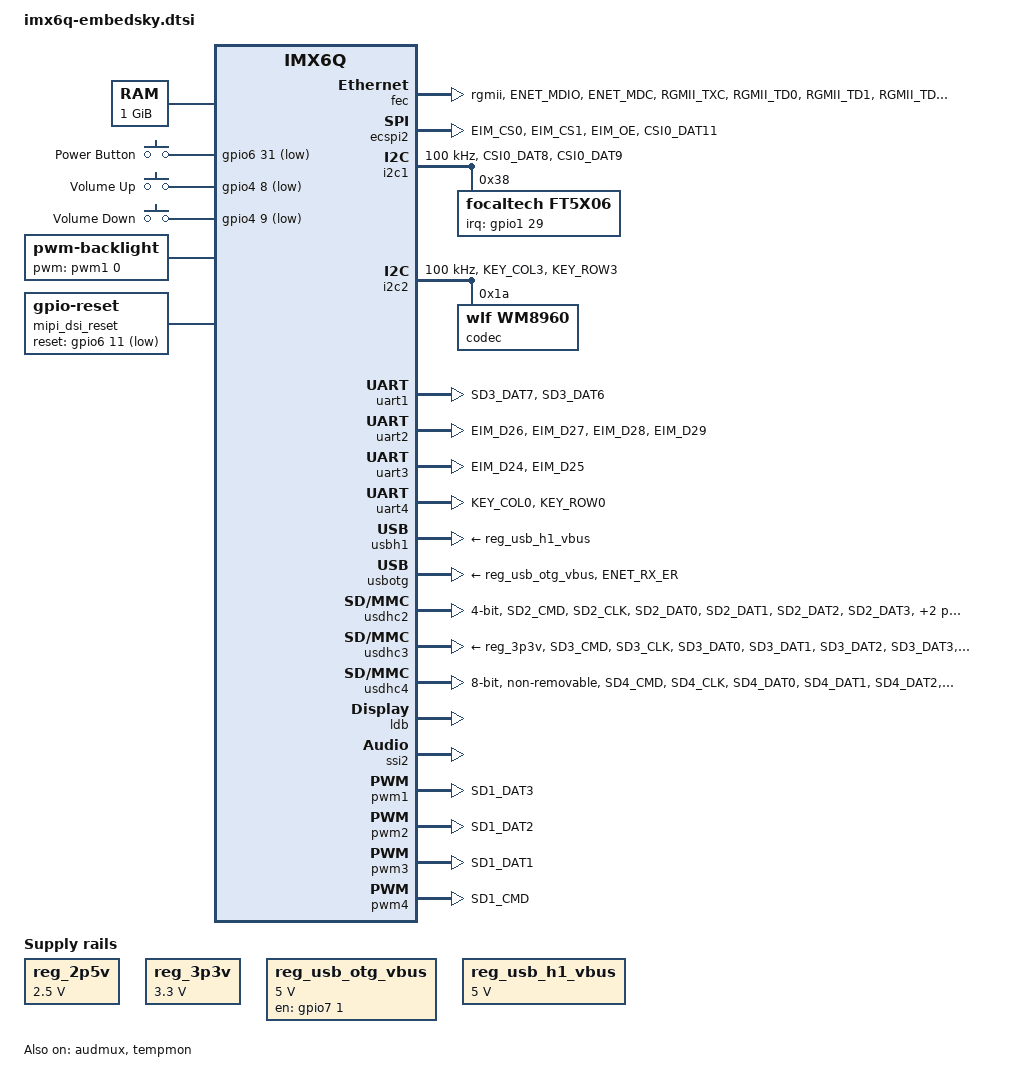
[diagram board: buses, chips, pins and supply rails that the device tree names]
/*
 * Copyright 2012 Freescale Semiconductor, Inc.
 * Copyright 2011 Linaro Ltd.
 *
 * The code contained herein is licensed under the GNU General Public
 * License. You may obtain a copy of the GNU General Public License
 * Version 2 or later at the following locations:
 *
 * http://www.opensource.org/licenses/gpl-license.html
 * http://www.gnu.org/copyleft/gpl.html
 */

#include <dt-bindings/gpio/gpio.h>
#include <dt-bindings/input/input.h>

/*
    0x000b1 - 0000 0000 0000 1011 0001 => PAD_CTL_SPEED_MED | PAD_CTL_DSE_40ohm | PAD_CTL_SRE_FAST
*/
/ {
	aliases {
		mxcfb0 = &mxcfb1;
		mxcfb1 = &mxcfb2;
		mxcfb2 = &mxcfb3;
		mxcfb3 = &mxcfb4;
	};

/*
	hannstar_cabc {
		compatible = "hannstar,cabc";

		lvds0 {
			gpios = <&gpio6 15 GPIO_ACTIVE_HIGH>;
		};

		lvds1 {
			gpios = <&gpio6 16 GPIO_ACTIVE_HIGH>;
		};
	};

	leds {
		compatible = "gpio-leds";

		charger-led {
			gpios = <&gpio1 2 0>;
			linux,default-trigger = "max8903-charger-charging";
			retain-state-suspended;
		};
	};
*/
	memory: memory {
		reg = <0x10000000 0x40000000>;
	};

	regulators {
		compatible = "simple-bus";
		#address-cells = <1>;
		#size-cells = <0>;

		reg_2p5v: regulator@0 {
		    compatible = "regulator-fixed";
                    reg = <0>;
                    regulator-name = "2P5V";
                    regulator-min-microvolt = <2500000>;
                    regulator-max-microvolt = <2500000>;
                    regulator-always-on;
		};

                reg_3p3v: regulator@1 {
        	compatible = "regulator-fixed";
        	reg = <1>;
			regulator-name = "3P3V";
			regulator-min-microvolt = <3300000>;
			regulator-max-microvolt = <3300000>;
			regulator-always-on;
		};

		reg_usb_otg_vbus: regulator@2 {
			compatible = "regulator-fixed";
			reg = <2>;
			regulator-name = "usb_otg_vbus";
			regulator-min-microvolt = <5000000>;
			regulator-max-microvolt = <5000000>;
                        gpio = <&gpio7 1 GPIO_ACTIVE_HIGH>;
                        enable-active-high;
		};

		reg_usb_h1_vbus: regulator@3 {
			compatible = "regulator-fixed";
			reg = <3>;
			regulator-name = "usb_h1_vbus";
			regulator-min-microvolt = <5000000>;
			regulator-max-microvolt = <5000000>;
                        regulator-always-on;
		};
	};

	gpio-keys {
		compatible = "gpio-keys";
		pinctrl-names = "default";
		pinctrl-0 = <&pinctrl_gpio_keys>;

		power {
			label = "Power Button";
			gpios = <&gpio6 31 GPIO_ACTIVE_LOW>;
			gpio-key,wakeup;
			linux,code = <KEY_POWER>;
		};

		volume-up {
			label = "Volume Up";
			gpios = <&gpio4 8 GPIO_ACTIVE_LOW>;
			gpio-key,wakeup;
			linux,code = <KEY_VOLUMEUP>;
		};

		volume-down {
			label = "Volume Down";
			gpios = <&gpio4 9 GPIO_ACTIVE_LOW>;
			gpio-key,wakeup;
			linux,code = <KEY_VOLUMEDOWN>;
		};
	};

        sound {
                compatible = "fsl,fsl,imx-audio-wm8960";
                model = "wm8960-audio";
                cpu-dai = <&ssi2>;
                audio-codec = <&codec>;
                asrc-controller = <&asrc>;
                codec-master;
                hp-det = <3 0>;
                audio-routing =
                    "Headset Jack", "HP_L",
                    "Headset Jack", "HP_R",
                    "Ext Spk", "SPK_LP",
                    "Ext Spk", "SPK_LN",
                    "Ext Spk", "SPK_RP",
                    "Ext Spk", "SPK_RN",
                    "LINPUT2", "Hp MIC",
                    "LINPUT3", "Hp MIC",
                    "RINPUT1", "Main MIC",
                    "RINPUT2", "Main MIC",
                    "Hp MIC", "MICB",
                    "Main MIC", "MICB",
                    "CPU-Playback", "ASRC-Playback",
                    "Playback", "CPU-Playback",
                    "ASRC-Capture", "CPU-Capture",
                    "CPU-Capture", "Capture";
   		status = "okay";
        };

/*
	sound {
		compatible = "fsl,imx-audio-wm8960";
		model = "wm8960-audio";
		ssi-controller = <&ssi2>;
		audio-codec = <&codec>;
		asrc-controller = <&asrc>;
		audio-routing =
			"Headphone Jack", "HPOUTL",
			"Headphone Jack", "HPOUTR",
			"Ext Spk", "SPKOUTL",
			"Ext Spk", "SPKOUTR",
			"MICBIAS", "AMIC",
			"IN3R", "MICBIAS",
			"DMIC", "MICBIAS",
			"DMICDAT", "DMIC",
			"CPU-Playback", "ASRC-Playback",
			"Playback", "CPU-Playback",
			"ASRC-Capture", "CPU-Capture",
			"CPU-Capture", "Capture";
		mux-int-port = <2>;
		mux-ext-port = <3>;
		hp-det-gpios = <&gpio3 31 GPIO_ACTIVE_LOW>;
   		status = "okay";
	};
*/
	sound-hdmi {
		compatible = "fsl,imx6q-audio-hdmi",
			     "fsl,imx-audio-hdmi";
		model = "imx-audio-hdmi";
		hdmi-controller = <&hdmi_audio>;
	};

	mxcfb1: fb@0 {
                compatible = "fsl,mxc_sdc_fb";
                disp_dev = "lcd";
                interface_pix_fmt = "RGB24";
                mode_str ="CLAA-WVGA";
                default_bpp = <16>;
                int_clk = <0>;
                late_init = <0>;
		status = "okay";
	};

	mxcfb2: fb@1 {
		compatible = "fsl,mxc_sdc_fb";
		disp_dev = "hdmi";
		interface_pix_fmt = "RGB24";
		mode_str ="1920x1080M@60";
		default_bpp = <24>;
		int_clk = <0>;
		late_init = <0>;
		status = "disabled";
	};

	mxcfb3: fb@2 {
		compatible = "fsl,mxc_sdc_fb";
		disp_dev = "lcd";
		interface_pix_fmt = "RGB565";
		mode_str ="CLAA-WVGA";
		default_bpp = <16>;
		int_clk = <0>;
		late_init = <0>;
		status = "disabled";
	};

	mxcfb4: fb@3 {
		compatible = "fsl,mxc_sdc_fb";
		disp_dev = "ldb";
		interface_pix_fmt = "RGB666";
		default_bpp = <16>;
		int_clk = <0>;
		late_init = <0>;
		status = "disabled";
	};

	lcd@0 {
		compatible = "fsl,lcd";
		ipu_id = <0>;
		disp_id = <0>;
		default_ifmt = "RGB565";
		pinctrl-names = "default";
		pinctrl-0 = <&pinctrl_ipu1>;
		status = "okay";
	};

	backlight {
		compatible = "pwm-backlight";
		pwms = <&pwm1 0 5000000>;
		brightness-levels = <0 4 8 16 32 64 128 255>;
		default-brightness-level = <7>;
		status = "okay";
	};

	v4l2_cap_0 {
		compatible = "fsl,imx6q-v4l2-capture";
		ipu_id = <0>;
		csi_id = <0>;
		mclk_source = <0>;
		status = "okay";
	};

	v4l2_cap_1 {
		compatible = "fsl,imx6q-v4l2-capture";
		ipu_id = <0>;
		csi_id = <1>;
		mclk_source = <0>;
		status = "okay";
	};

	v4l2_out {
		compatible = "fsl,mxc_v4l2_output";
		status = "okay";
	};

	mipi_dsi_reset: mipi-dsi-reset {
		compatible = "gpio-reset";
		reset-gpios = <&gpio6 11 GPIO_ACTIVE_LOW>;
		reset-delay-us = <50>;
		#reset-cells = <0>;
	};
};

/*
&cpu0 {
	arm-supply = <&sw1a_reg>;
	soc-supply = <&sw1c_reg>;
};
*/

&clks {
	fsl,ldb-di0-parent = <&clks IMX6QDL_CLK_PLL2_PFD0_352M>;
	fsl,ldb-di1-parent = <&clks IMX6QDL_CLK_PLL2_PFD0_352M>;
};

&fec {
	pinctrl-names = "default";
	pinctrl-0 = <&pinctrl_enet>;
	phy-mode = "rgmii";
	status = "okay";
};

&audmux {
	pinctrl-names = "default";
	pinctrl-0 = <&pinctrl_audmux>;
	status = "okay";
};

&ecspi2 {
	fsl,spi-num-chipselects = <1>;
	cs-gpios = <&gpio5 29 0>;
	pinctrl-names = "default";
	pinctrl-0 = <&pinctrl_ecspi2>;
	status = "okay";
};

&i2c1 {
	clock-frequency = <100000>;
	pinctrl-names = "default";
	pinctrl-0 = <&pinctrl_i2c1>;
	status = "okay";

        ft5x06: ft5x06_ts@38 {
                compatible = "focaltech,ft5x06";
                reg = <0x38>;
                interrupt-parent = <&gpio1>;
                interrupts = <29 2>;

                cfg-regs {
                        id-g-thgroup = <0x46>;
                        id-g-thpeak = <0xff>;
                        id-g-thcal = <0xff>;
                        id-g-thwater = <0x3c>;
                        id-g-thtemp = <0x0a>;
                        id-g-thdiff = <0x14>;
                        id-g-ctrl = <0x0>;
                        id-g-timeentermonitor = <0x2>;
                        id-g-periodactive = <0x0c>;
                        id-g-periodmonitor = <0x28>;
                };
        };
};

&i2c2 {
	clock-frequency = <100000>;
	pinctrl-names = "default";
	pinctrl-0 = <&pinctrl_i2c2>;
	status = "okay";

	hdmi: edid@50 {
		compatible = "fsl,imx6-hdmi-i2c";
		reg = <0x50>;
	};

        codec: wm8960@1a {
                compatible = "wlf,wm8960";
                reg = <0x1a>;
                wlf,shared-lrclk;
                wlf,capless;
                clocks = <&clks 201>;
        };
};

&iomuxc {
	pinctrl-names = "default";
	pinctrl-0 = <&pinctrl_hog>;

	imx6q-embedsky-e9 {
		pinctrl_hog: hoggrp {
			fsl,pins = <
				MX6QDL_PAD_NANDF_D0__GPIO2_IO00 0x80000000
				MX6QDL_PAD_NANDF_D1__GPIO2_IO01 0x80000000
				MX6QDL_PAD_NANDF_D2__GPIO2_IO02 0x80000000
				MX6QDL_PAD_NANDF_D3__GPIO2_IO03 0x80000000
				MX6QDL_PAD_NANDF_CLE__GPIO6_IO07 0x80000000
				MX6QDL_PAD_NANDF_ALE__GPIO6_IO08 0x80000000
				MX6QDL_PAD_NANDF_CS0__GPIO6_IO11 0x80000000
				MX6QDL_PAD_NANDF_CS1__GPIO6_IO14 0x80000000
				MX6QDL_PAD_NANDF_CS2__GPIO6_IO15 0x80000000
				MX6QDL_PAD_NANDF_CS3__GPIO6_IO16 0x80000000

				MX6QDL_PAD_ENET_TXD1__GPIO1_IO29 0x80000000
				MX6QDL_PAD_EIM_D22__GPIO3_IO22  0x80000000
/*
				MX6QDL_PAD_ENET_CRS_DV__GPIO1_IO25 0x80000000
				MX6QDL_PAD_EIM_D26__GPIO3_IO26 0x80000000
				MX6QDL_PAD_EIM_CS1__GPIO2_IO24 0x80000000
*/
				MX6QDL_PAD_ENET_RXD0__GPIO1_IO27        0x80000000
				MX6QDL_PAD_EIM_A25__GPIO5_IO02          0x80000000
				MX6QDL_PAD_EIM_D23__GPIO3_IO23          0x80000000
				MX6QDL_PAD_EIM_EB3__GPIO2_IO31          0x80000000
/*
				MX6QDL_PAD_SD1_CMD__GPIO1_IO18          0x80000000
*/
				MX6QDL_PAD_EIM_D16__GPIO3_IO16          0x80000000
/*
				MX6QDL_PAD_SD3_RST__GPIO7_IO08	        0x80000000
*/
				MX6QDL_PAD_GPIO_9__GPIO1_IO09 	        0x80000000
				MX6QDL_PAD_EIM_DA9__GPIO3_IO09          0x80000000
				MX6QDL_PAD_GPIO_1__WDOG2_B              0x80000000
			>;
		};

                /*              HYS |   PUS   | PUE |   PKE |   ODE |   SPEED   |   DSE |   SRE */
                /*  0x130b0 =>   1       00      1       1       0      10          110     0  */
                pinctrl_audmux: audmuxgrp {
			fsl,pins = <
				MX6QDL_PAD_CSI0_DAT7__AUD3_RXD		0x130b0
				MX6QDL_PAD_CSI0_DAT4__AUD3_TXC		0x130b0
				MX6QDL_PAD_CSI0_DAT5__AUD3_TXD		0x110b0
				MX6QDL_PAD_CSI0_DAT6__AUD3_TXFS		0x130b0
          	                MX6QDL_PAD_GPIO_0__CCM_CLKO1     	0x130b0
			>;
		};

                /*              HYS |   PUS   | PUE |   PKE |   ODE |   SPEED   |   DSE |   SRE */
                /*  0x1b0b0 =>  1       10      1       1       0       10          110     0   */
                /*  0x4001b0a8  1       10      1       1       0       10          101     0   */ 
		pinctrl_enet: enetgrp {
			fsl,pins = <
				MX6QDL_PAD_ENET_MDIO__ENET_MDIO		0x1b0b0
				MX6QDL_PAD_ENET_MDC__ENET_MDC		0x1b0b0
				MX6QDL_PAD_RGMII_TXC__RGMII_TXC		0x1b0b0
				MX6QDL_PAD_RGMII_TD0__RGMII_TD0		0x1b0b0
				MX6QDL_PAD_RGMII_TD1__RGMII_TD1		0x1b0b0
				MX6QDL_PAD_RGMII_TD2__RGMII_TD2		0x1b0b0
				MX6QDL_PAD_RGMII_TD3__RGMII_TD3		0x1b0b0
				MX6QDL_PAD_RGMII_TX_CTL__RGMII_TX_CTL	0x1b0b0
				MX6QDL_PAD_ENET_REF_CLK__ENET_TX_CLK	0x1b0b0
				MX6QDL_PAD_RGMII_RXC__RGMII_RXC		0x1b0b0
				MX6QDL_PAD_RGMII_RD0__RGMII_RD0		0x1b0b0
				MX6QDL_PAD_RGMII_RD1__RGMII_RD1		0x1b0b0
				MX6QDL_PAD_RGMII_RD2__RGMII_RD2		0x1b0b0
				MX6QDL_PAD_RGMII_RD3__RGMII_RD3		0x1b0b0
				MX6QDL_PAD_RGMII_RX_CTL__RGMII_RX_CTL   0x130b0
      		                MX6QDL_PAD_GPIO_16__ENET_REF_CLK        0x4001b0a8  /* RGMII RefClk */
				MX6QDL_PAD_ENET_CRS_DV__GPIO1_IO25      0x130b0     /* RGMII Reset */
 				MX6QDL_PAD_ENET_RXD1__GPIO1_IO26        0x180b0     /* RGMII Int */
			>;
		};

		pinctrl_enet_irq: enetirqgrp {
			fsl,pins = <
/*
				MX6QDL_PAD_ENET_RXD1__GPIO1_IO26        0x180b0
*/
			>;
		};

		pinctrl_gpio_keys: gpio_keysgrp {
			fsl,pins = <
         		        MX6QDL_PAD_EIM_BCLK__GPIO6_IO31         0x80000000
				MX6QDL_PAD_KEY_COL1__KEY_COL1           0x80000000
				MX6QDL_PAD_KEY_ROW1__KEY_ROW1           0x80000000
			>;
		};

                /*              HYS |   PUS   | PUE |   PKE |   ODE |   SPEED   |   DSE |   SRE */
                /*  0x100b1 =>  1       00      0       0       0       10          110     1   */
                /*  0x000b1 =>  0       00      0       0       0       10          110     1   */ 
                pinctrl_ecspi2: ecspi2grp {
                        fsl,pins = <
                                MX6QDL_PAD_EIM_CS0__ECSPI2_SCLK         0x100b1
                                MX6QDL_PAD_EIM_CS1__ECSPI2_MOSI         0x100b1
                                MX6QDL_PAD_EIM_OE__ECSPI2_MISO          0x100b1
                                MX6QDL_PAD_CSI0_DAT11__ECSPI2_SS0       0x000b1
                        >;
                };

                /*              HYS |   PUS   | PUE |   PKE |   ODE |   SPEED   |   DSE |   SRE */
                /*  0x4001b8b1  1       10      1       1       1       10          110     1   */
		pinctrl_i2c1: i2c1grp {
			fsl,pins = <
				MX6QDL_PAD_CSI0_DAT8__I2C1_SDA		0x4001b8b1
				MX6QDL_PAD_CSI0_DAT9__I2C1_SCL		0x4001b8b1
			>;
		};

		pinctrl_i2c2: i2c2grp {
			fsl,pins = <
				MX6QDL_PAD_KEY_COL3__I2C2_SCL		0x4001b8b1
				MX6QDL_PAD_KEY_ROW3__I2C2_SDA		0x4001b8b1
			 >;
		};

                pinctrl_ipu1: ipu1grp {
                        fsl,pins = <
                                MX6QDL_PAD_DI0_DISP_CLK__IPU1_DI0_DISP_CLK 0x10
                                MX6QDL_PAD_DI0_PIN15__IPU1_DI0_PIN15       0x10
                                MX6QDL_PAD_DI0_PIN2__IPU1_DI0_PIN02        0x10
                                MX6QDL_PAD_DI0_PIN3__IPU1_DI0_PIN03        0x10
                                MX6QDL_PAD_DI0_PIN4__IPU1_DI0_PIN04        0x80000000
                                MX6QDL_PAD_DISP0_DAT0__IPU1_DISP0_DATA00   0x10
                                MX6QDL_PAD_DISP0_DAT1__IPU1_DISP0_DATA01   0x10
                                MX6QDL_PAD_DISP0_DAT2__IPU1_DISP0_DATA02   0x10
                                MX6QDL_PAD_DISP0_DAT3__IPU1_DISP0_DATA03   0x10
                                MX6QDL_PAD_DISP0_DAT4__IPU1_DISP0_DATA04   0x10
                                MX6QDL_PAD_DISP0_DAT5__IPU1_DISP0_DATA05   0x10
                                MX6QDL_PAD_DISP0_DAT6__IPU1_DISP0_DATA06   0x10
                                MX6QDL_PAD_DISP0_DAT7__IPU1_DISP0_DATA07   0x10
                                MX6QDL_PAD_DISP0_DAT8__IPU1_DISP0_DATA08   0x10
                                MX6QDL_PAD_DISP0_DAT9__IPU1_DISP0_DATA09   0x10
                                MX6QDL_PAD_DISP0_DAT10__IPU1_DISP0_DATA10  0x10
                                MX6QDL_PAD_DISP0_DAT11__IPU1_DISP0_DATA11  0x10
                                MX6QDL_PAD_DISP0_DAT12__IPU1_DISP0_DATA12  0x10
                                MX6QDL_PAD_DISP0_DAT13__IPU1_DISP0_DATA13  0x10
                                MX6QDL_PAD_DISP0_DAT14__IPU1_DISP0_DATA14  0x10
                                MX6QDL_PAD_DISP0_DAT15__IPU1_DISP0_DATA15  0x10
                                MX6QDL_PAD_DISP0_DAT16__IPU1_DISP0_DATA16  0x10
                                MX6QDL_PAD_DISP0_DAT17__IPU1_DISP0_DATA17  0x10
                                MX6QDL_PAD_DISP0_DAT18__IPU1_DISP0_DATA18  0x10
                                MX6QDL_PAD_DISP0_DAT19__IPU1_DISP0_DATA19  0x10
                                MX6QDL_PAD_DISP0_DAT20__IPU1_DISP0_DATA20  0x10
                                MX6QDL_PAD_DISP0_DAT21__IPU1_DISP0_DATA21  0x10
                                MX6QDL_PAD_DISP0_DAT22__IPU1_DISP0_DATA22  0x10
                                MX6QDL_PAD_DISP0_DAT23__IPU1_DISP0_DATA23  0x10
                        >;
                };

		pinctrl_ipu1_2: ipu1grp-2 { /* camera interface */
			fsl,pins = <
				MX6QDL_PAD_CSI0_DAT12__IPU1_CSI0_DATA12    0x80000000
				MX6QDL_PAD_CSI0_DAT13__IPU1_CSI0_DATA13    0x80000000
				MX6QDL_PAD_CSI0_DAT14__IPU1_CSI0_DATA14    0x80000000
				MX6QDL_PAD_CSI0_DAT15__IPU1_CSI0_DATA15    0x80000000
				MX6QDL_PAD_CSI0_DAT16__IPU1_CSI0_DATA16    0x80000000
				MX6QDL_PAD_CSI0_DAT17__IPU1_CSI0_DATA17    0x80000000
				MX6QDL_PAD_CSI0_DAT18__IPU1_CSI0_DATA18    0x80000000
				MX6QDL_PAD_CSI0_DAT19__IPU1_CSI0_DATA19    0x80000000
				MX6QDL_PAD_CSI0_DATA_EN__IPU1_CSI0_DATA_EN 0x80000000
				MX6QDL_PAD_CSI0_PIXCLK__IPU1_CSI0_PIXCLK   0x80000000
				MX6QDL_PAD_CSI0_MCLK__IPU1_CSI0_HSYNC      0x80000000
				MX6QDL_PAD_CSI0_VSYNC__IPU1_CSI0_VSYNC     0x80000000
			>;
		};

                pinctrl_cam_ctrl: cam_ctrl { /* camera control */
                        fsl,pins = <
                                MX6QDL_PAD_GPIO_17__GPIO7_IO12          0x80000000 /* camera reset */
                                MX6QDL_PAD_GPIO_18__GPIO7_IO13          0x80000000 /* camera power down */
                        >;
                };

                /*              HYS |   PUS   | PUE |   PKE |   ODE |   SPEED   |   DSE |   SRE */
                /*  0x1b0b1 =>  1       10      1       1       0       10          110     1   */
                pinctrl_uart1: uart1grp {
                        fsl,pins = <
                                MX6QDL_PAD_SD3_DAT7__UART1_TX_DATA      0x1b0b1
                                MX6QDL_PAD_SD3_DAT6__UART1_RX_DATA      0x1b0b1
                        >;
                };

                pinctrl_uart2: uart2grp {
                        fsl,pins = <
                                MX6QDL_PAD_EIM_D26__UART2_RX_DATA       0x1b0b1
                                MX6QDL_PAD_EIM_D27__UART2_TX_DATA       0x1b0b1
                                MX6QDL_PAD_EIM_D28__UART2_DTE_CTS_B     0x1b0b1
                                MX6QDL_PAD_EIM_D29__UART2_DTE_RTS_B     0x1b0b1
                        >;
                };

                pinctrl_uart3: uart3grp {
                        fsl,pins = <
                                MX6QDL_PAD_EIM_D24__UART3_TX_DATA       0x1b0b1
                                MX6QDL_PAD_EIM_D25__UART3_RX_DATA       0x1b0b1
                        >;
                };

                pinctrl_uart4: uart4grp {
                        fsl,pins = <
                                MX6QDL_PAD_KEY_COL0__UART4_TX_DATA      0x1b0b1
                                MX6QDL_PAD_KEY_ROW0__UART4_RX_DATA      0x1b0b1
                        >;
                };

                /*              HYS |   PUS   | PUE |   PKE |   ODE |   SPEED   |   DSE |   SRE */
                /*  0x17059 =>  1       01      1       1       0       01          011     1   */
                /*  0x10059 =>  1       00      0       0       0       01          011     1   */
                /*  0x1f071 =>  1       11      1       1       0       01          110     1   */
		pinctrl_usdhc2: usdhc2grp {
			fsl,pins = <
				MX6QDL_PAD_SD2_CMD__SD2_CMD                 0x17059
				MX6QDL_PAD_SD2_CLK__SD2_CLK	            0x10059
				MX6QDL_PAD_SD2_DAT0__SD2_DATA0	            0x17059
				MX6QDL_PAD_SD2_DAT1__SD2_DATA1	            0x17059
				MX6QDL_PAD_SD2_DAT2__SD2_DATA2	            0x17059
				MX6QDL_PAD_SD2_DAT3__SD2_DATA3              0x17059
                                MX6QDL_PAD_GPIO_4__GPIO1_IO04               0x1f071 /* CD */
			>;
		};

		pinctrl_usdhc3: usdhc3grp {
			fsl,pins = <
				MX6QDL_PAD_SD3_CMD__SD3_CMD		    0x17059
				MX6QDL_PAD_SD3_CLK__SD3_CLK		    0x10059
				MX6QDL_PAD_SD3_DAT0__SD3_DATA0		    0x17059
				MX6QDL_PAD_SD3_DAT1__SD3_DATA1		    0x17059
				MX6QDL_PAD_SD3_DAT2__SD3_DATA2		    0x17059
				MX6QDL_PAD_SD3_DAT3__SD3_DATA3		    0x17059
                                MX6QDL_PAD_SD3_RST__SD3_RESET               0x17059
			>;
		};

		pinctrl_usdhc4: usdhc4grp {
			fsl,pins = <
				MX6QDL_PAD_SD4_CMD__SD4_CMD		    0x17059
				MX6QDL_PAD_SD4_CLK__SD4_CLK		    0x10059
				MX6QDL_PAD_SD4_DAT0__SD4_DATA0		    0x17059
				MX6QDL_PAD_SD4_DAT1__SD4_DATA1		    0x17059
				MX6QDL_PAD_SD4_DAT2__SD4_DATA2		    0x17059
				MX6QDL_PAD_SD4_DAT3__SD4_DATA3		    0x17059
				MX6QDL_PAD_SD4_DAT4__SD4_DATA4		    0x17059
				MX6QDL_PAD_SD4_DAT5__SD4_DATA5		    0x17059
				MX6QDL_PAD_SD4_DAT6__SD4_DATA6		    0x17059
				MX6QDL_PAD_SD4_DAT7__SD4_DATA7		    0x17059
			>;
		};

		pinctrl_usbotg: usbotggrp {
			fsl,pins = <
				MX6QDL_PAD_ENET_RX_ER__USB_OTG_ID	    0x17059
			>;
		};

		pinctrl_pwm1: pwm1grp {
			fsl,pins = <
				MX6QDL_PAD_SD1_DAT3__PWM1_OUT		    0x1b0b1
			>;
		};

                pinctrl_pwm2: pwm2grp {
                        fsl,pins = <
                                MX6QDL_PAD_SD1_DAT2__PWM2_OUT               0x1b0b1
                        >;
                };

                pinctrl_pwm3: pwm3grp {
                        fsl,pins = <
                                MX6QDL_PAD_SD1_DAT1__PWM3_OUT               0x1b0b1
                        >;
                };

                pinctrl_pwm4: pwm4grp {
                        fsl,pins = <
                                MX6QDL_PAD_SD1_CMD__PWM4_OUT                0x1b0b1
                        >;
                };

		pinctrl_hdmi_cec: hdmicecgrp {
			fsl,pins = <
				MX6QDL_PAD_KEY_ROW2__HDMI_TX_CEC_LINE       0x1f8b0
			>;
		};

		pinctrl_hdmi_hdcp: hdmihdcpgrp {
			fsl,pins = <
				MX6QDL_PAD_KEY_COL3__HDMI_TX_DDC_SCL        0x4001b8b1
				MX6QDL_PAD_KEY_ROW3__HDMI_TX_DDC_SDA        0x4001b8b1
			>;
		};

                pinctrl_can1: can1grp {
                        fsl,pins = <
                                MX6QDL_PAD_GPIO_7__FLEXCAN1_TX              0x1b0b1
                                MX6QDL_PAD_GPIO_8__FLEXCAN1_RX              0x1b0b1
                        >;
                };

                pinctrl_can2: can2grp {
                        fsl,pins = <
                                MX6QDL_PAD_KEY_COL4__FLEXCAN2_TX            0x1b0b1
                                MX6QDL_PAD_KEY_ROW4__FLEXCAN2_RX            0x1b0b1
                        >;
                };
	};
};

&uart1 {
        pinctrl-names = "default";
        pinctrl-0 = <&pinctrl_uart1>;
        status = "okay";
};

&uart2 {
        pinctrl-names = "default";
        pinctrl-0 = <&pinctrl_uart2>;
        status = "okay";
};

&uart3 {
        pinctrl-names = "default";
        pinctrl-0 = <&pinctrl_uart3>;
        status = "okay";
};

&uart4 {
        pinctrl-names = "default";
        pinctrl-0 = <&pinctrl_uart4>;
        status = "okay";
};

&usbh1 {
	vbus-supply = <&reg_usb_h1_vbus>;
	status = "okay";
};

&usbotg {
	vbus-supply = <&reg_usb_otg_vbus>;
	pinctrl-names = "default";
	pinctrl-0 = <&pinctrl_usbotg>;
	disable-over-current;
/*
	srp-disable;
	hnp-disable;
	adp-disable;
*/
	status = "okay";
};

&usdhc2 {
        pinctrl-names = "default";
        pinctrl-0 = <&pinctrl_usdhc2>;
	bus-width = <4>;
        cd-gpios = <&gpio1 4 0>;
        no-1-8-v;
        keep-power-in-suspend;
        enable-sdio-wakeup;
        status = "okay";
};

&usdhc3 {
        pinctrl-names = "default";
        pinctrl-0 = <&pinctrl_usdhc3>;
        vmmc-supply = <&reg_3p3v>;
        status = "okay";
};

&usdhc4 {
	pinctrl-names = "default";
	pinctrl-0 = <&pinctrl_usdhc4>;
	bus-width = <8>;
	non-removable;
	no-1-8-v;
	keep-power-in-suspend;
	status = "okay";
};

&ldb {
        ipu_id = <1>;
        disp_id = <1>;
        ext_ref = <1>;
        mode = "sep1";
        sec_ipu_id = <1>;
        sec_disp_id = <0>;
        status = "okay";
};

&mipi_csi {
        ipu_id = <0>;
        csi_id = <1>;
        v_channel = <0>;
        lanes = <2>;
        status = "disabled";
};

&hdmi {
        ddc-i2c-bus = <&i2c2>;
        status = "disabled";
};

&pcie {
        status = "disabled";
};

/*
&can1 {
        pinctrl-names = "default";
        pinctrl-0 = <&pinctrl_can1>;
        status = "disabled";
};
*/

&sata {
        status = "disabled";
};

&ssi2 {
        fsl,mode = "i2s-slave";
        status = "okay";
};

&pwm1 {
	pinctrl-names = "default";
	pinctrl-0 = <&pinctrl_pwm1>;
	status = "okay";
};

&pwm2 {
	pinctrl-names = "default";
	pinctrl-0 = <&pinctrl_pwm2>;
	status = "okay";
};

&pwm3 {
	pinctrl-names = "default";
	pinctrl-0 = <&pinctrl_pwm3>;
	status = "okay";
};

&pwm4 {
	pinctrl-names = "default";
	pinctrl-0 = <&pinctrl_pwm4>;
	status = "okay";
};

&tempmon {
        status = "okay";
};

&wdog1 {
	status = "disabled";
};

&wdog2 {
	status = "disabled";
};
